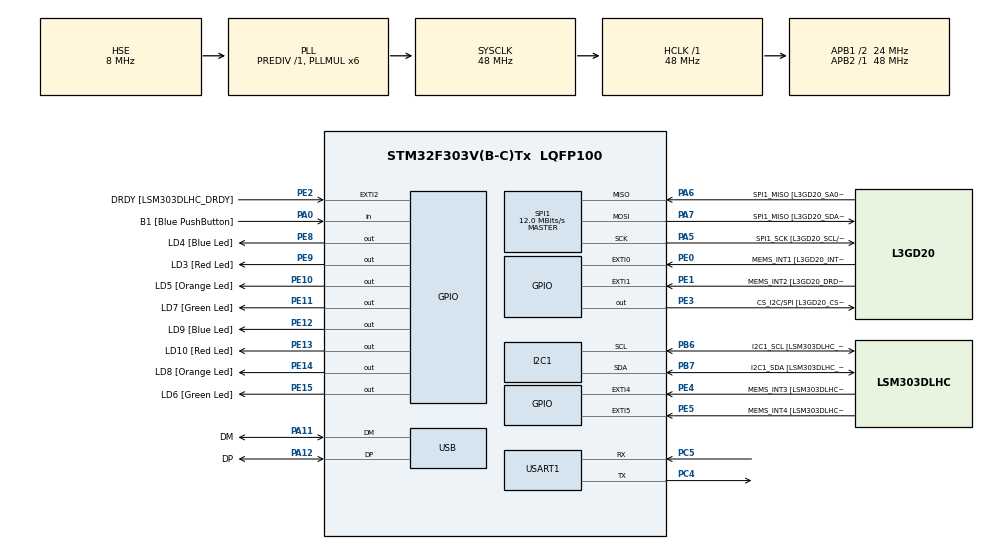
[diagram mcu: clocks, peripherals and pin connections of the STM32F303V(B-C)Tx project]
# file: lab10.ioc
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I2C1.Timing=0x2000090E
I2C1.Timing-I2C=0x2000090E
Mcu.Family=STM32F3
Mcu.Name=STM32F303V(B-C)Tx
Mcu.Package=LQFP100
NVIC.PriorityGroup=NVIC_PRIORITYGROUP_0
PA0.GPIO_Label=B1 [Blue PushButton]
PA0.Signal=GPIO_Input
PA11.GPIO_Label=DM
PA11.Mode=Device
PA11.Signal=USB_DM
PA12.GPIO_Label=DP
PA12.Mode=Device
PA12.Signal=USB_DP
PA13.GPIO_Label=SWDIO
PA13.Mode=Serial_Wire
PA13.Signal=SYS_JTMS-SWDIO
PA14.GPIO_Label=SWCLK
PA14.Mode=Serial_Wire
PA14.Signal=SYS_JTCK-SWCLK
PA5.GPIO_Label=SPI1_SCK [L3GD20_SCL/SPC]
PA5.Mode=Full_Duplex_Master
PA5.Signal=SPI1_SCK
PA6.GPIO_Label=SPI1_MISO [L3GD20_SA0/SDO]
PA6.Mode=Full_Duplex_Master
PA6.Signal=SPI1_MISO
PA7.GPIO_Label=SPI1_MISO [L3GD20_SDA/SDI/SDO]
PA7.Mode=Full_Duplex_Master
PA7.Signal=SPI1_MOSI
PB3.GPIO_Label=SWO
PB3.Signal=SYS_JTDO-TRACESWO
PB6.GPIO_Label=I2C1_SCL [LSM303DLHC_SCL]
PB6.GPIO_Pu=GPIO_PULLUP
PB6.Mode=I2C
PB6.Signal=I2C1_SCL
PB7.GPIO_Label=I2C1_SDA [LSM303DLHC_SDA]
PB7.GPIO_Pu=GPIO_PULLUP
PB7.Mode=I2C
PB7.Signal=I2C1_SDA
PC14-OSC32_IN.GPIO_Label=OSC32_IN
PC14-OSC32_IN.Signal=RCC_OSC32_IN
PC15-OSC32_OUT.GPIO_Label=OSC32_OUT
PC15-OSC32_OUT.Signal=RCC_OSC32_OUT
PC4.Mode=Asynchronous
PC4.Signal=USART1_TX
PC5.Mode=Asynchronous
PC5.Signal=USART1_RX
PE0.GPIO_Label=MEMS_INT1 [L3GD20_INT1]
PE0.GPIO_ModeDefaultEXTI=GPIO_MODE_EVT_RISING
PE0.Signal=GPXTI0
PE1.GPIO_Label=MEMS_INT2 [L3GD20_DRDY/INT2]
PE1.GPIO_ModeDefaultEXTI=GPIO_MODE_EVT_RISING
PE1.Signal=GPXTI1
PE10.GPIO_Label=LD5 [Orange Led]
PE10.Signal=GPIO_Output
PE11.GPIO_Label=LD7 [Green Led]
PE11.Signal=GPIO_Output
PE12.GPIO_Label=LD9 [Blue Led]
PE12.Signal=GPIO_Output
PE13.GPIO_Label=LD10 [Red Led]
PE13.Signal=GPIO_Output
PE14.GPIO_Label=LD8 [Orange Led]
PE14.Signal=GPIO_Output
PE15.GPIO_Label=LD6 [Green Led]
PE15.Signal=GPIO_Output
PE2.GPIO_Label=DRDY [LSM303DLHC_DRDY]
PE2.GPIO_ModeDefaultEXTI=GPIO_MODE_EVT_RISING
PE2.Signal=GPXTI2
PE3.GPIO_Label=CS_I2C/SPI [L3GD20_CS_I2C/SPI]
PE3.Signal=GPIO_Output
PE4.GPIO_Label=MEMS_INT3 [LSM303DLHC_INT1]
PE4.GPIO_ModeDefaultEXTI=GPIO_MODE_EVT_RISING
PE4.Signal=GPXTI4
PE5.GPIO_Label=MEMS_INT4 [LSM303DLHC_INT2]
PE5.GPIO_ModeDefaultEXTI=GPIO_MODE_EVT_RISING
PE5.Signal=GPXTI5
PE8.GPIO_Label=LD4 [Blue Led]
PE8.Signal=GPIO_Output
PE9.GPIO_Label=LD3 [Red Led]
PE9.Signal=GPIO_Output
PF0-OSC_IN.GPIO_Label=OSC_IN
PF0-OSC_IN.Mode=HSE-External-Clock-Source
PF0-OSC_IN.Signal=RCC_OSC_IN
PF1-OSC_OUT.GPIO_Label=OSC_OUT
PF1-OSC_OUT.Signal=RCC_OSC_OUT
ProjectManager.HeapSize=0x200
ProjectManager.StackSize=0x400
ProjectManager.TargetToolchain=CMake
RCC.AHBFreq_Value=48000000
RCC.APB1CLKDivider=RCC_HCLK_DIV2
RCC.APB1Freq_Value=24000000
RCC.APB1TimFreq_Value=48000000
RCC.APB2Freq_Value=48000000
RCC.APB2TimFreq_Value=48000000
RCC.CortexFreq_Value=48000000
RCC.HCLKFreq_Value=48000000
RCC.HSE_VALUE=8000000
RCC.HSI_VALUE=8000000
RCC.LSE_VALUE=32768
RCC.PLLMUL=RCC_PLL_MUL6
RCC.SYSCLKFreq_VALUE=48000000
RCC.SYSCLKSourceVirtual=RCC_SYSCLKSOURCE_PLLCLK
RCC.USBFreq_Value=48000000
SPI1.BaudRatePrescaler=SPI_BAUDRATEPRESCALER_4
SPI1.BaudRatePrescaler-Full_Duplex_Master=SPI_BAUDRATEPRESCALER_2
SPI1.CalculateBaudRate=12.0 MBits/s
SPI1.CalculateBaudRate-Full_Duplex_Master=24.0 MBits/s
SPI1.Direction=SPI_DIRECTION_2LINES
SPI1.Mode=SPI_MODE_MASTER
SPI1.Mode-Full_Duplex_Master=SPI_MODE_MASTER
SPI1.VirtualType=VM_MASTER
USART1.VirtualMode-Asynchronous=VM_ASYNC
board=STM32F3DISCOVERY

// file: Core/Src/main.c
/* USER CODE BEGIN Header */
/**
  ******************************************************************************
  * @file           : main.c
  * @brief          : Main program body
  ******************************************************************************
  * @attention
  *
  * Copyright (c) 2025 STMicroelectronics.
  * All rights reserved.
  *
  * This software is licensed under terms that can be found in the LICENSE file
  * in the root directory of this software component.
  * If no LICENSE file comes with this software, it is provided AS-IS.
  *
  ******************************************************************************
  */
/* USER CODE END Header */
#include "main.h"

/* USER CODE BEGIN Includes */
#include "main.h"
#include <stdlib.h>
#include <string.h>
#include <stdio.h>

#define N 10
/* USER CODE END Includes */

/* Private macro -------------------------------------------------------#include "main.h"
#include <stdlib.h>
#include <string.h>
#include <stdio.h>

#define N 10 ------*/

I2C_HandleTypeDef hi2c1;

SPI_HandleTypeDef hspi1;

UART_HandleTypeDef huart1;

PCD_HandleTypeDef hpcd_USB_FS;

void SystemClock_Config(void);
static void MX_GPIO_Init(void);
static void MX_I2C1_Init(void);
static void MX_SPI1_Init(void);
static void MX_USART1_UART_Init(void);
static void MX_USB_PCD_Init(void);

int main(void)
{

  /* MCU Configuration--------------------------------------------------------*/

  /* Reset of all peripherals, Initializes the Flash interface and the Systick. */
  HAL_Init();

  /* Configure the system clock */
  SystemClock_Config();

  /* Initialize all configured peripherals */
  MX_GPIO_Init();
  MX_I2C1_Init();
  MX_SPI1_Init();
  MX_USART1_UART_Init();
  MX_USB_PCD_Init();

  /* Infinite loop */
  /* USER CODE BEGIN WHILE */
  char msg[100];
    HAL_UART_Transmit(&huart1, (uint8_t *)"\r\n--- Dynamic Memory Allocation Demo ---\r\n", 43, HAL_MAX_DELAY);

    // Step 1: Allocate using malloc()
    int *arr_malloc = (int *) malloc(N * sizeof(int));
    if (arr_malloc == NULL)
    {
        HAL_UART_Transmit(&huart1, (uint8_t *)"malloc failed!\r\n", 16, HAL_MAX_DELAY);
    }
    // else
    // {
    //     for (int i = 0; i < N; i++)
    //     {
    //         arr_malloc[i] = i * 2;
    //     }
    // }

    // Step 2: Allocate using calloc()
    int *arr_calloc = (int *) calloc(N, sizeof(int));
    if (arr_calloc == NULL)
    {
        HAL_UART_Transmit(&huart1, (uint8_t *)"calloc failed!\r\n", 16, HAL_MAX_DELAY);
    }
    // else
    // {
    //     for (int i = 0; i < N; i++)
    //     {
    //         arr_calloc[i] = i + 1;
    //     }
    // }

    // Step 3: Print arrays
    for (int i = 0; i < N; i++)
    {
        sprintf(msg, "arr_malloc[%d] = %d, arr_calloc[%d] = %d\r\n",
                i, arr_malloc[i], i, arr_calloc[i]);
        HAL_UART_Transmit(&huart1, (uint8_t*)msg, strlen(msg), HAL_MAX_DELAY);
    }

    // Step 4: Free memory and clear pointers
    free(arr_malloc);
    arr_malloc = NULL;

    free(arr_calloc);
    arr_calloc = NULL;

    HAL_UART_Transmit(&huart1, (uint8_t *)"Memory freed and pointers cleared!\r\n", 36, HAL_MAX_DELAY);

  while (1)
  {
    /* USER CODE END WHILE */

  }
}

void SystemClock_Config(void)
{
  RCC_OscInitTypeDef RCC_OscInitStruct = {0};
  RCC_ClkInitTypeDef RCC_ClkInitStruct = {0};
  RCC_PeriphCLKInitTypeDef PeriphClkInit = {0};

  /** Initializes the RCC Oscillators according to the specified parameters
  * in the RCC_OscInitTypeDef structure.
  */
  RCC_OscInitStruct.OscillatorType = RCC_OSCILLATORTYPE_HSI|RCC_OSCILLATORTYPE_HSE;
  RCC_OscInitStruct.HSEState = RCC_HSE_BYPASS;
  RCC_OscInitStruct.HSEPredivValue = RCC_HSE_PREDIV_DIV1;
  RCC_OscInitStruct.HSIState = RCC_HSI_ON;
  RCC_OscInitStruct.HSICalibrationValue = RCC_HSICALIBRATION_DEFAULT;
  RCC_OscInitStruct.PLL.PLLState = RCC_PLL_ON;
  RCC_OscInitStruct.PLL.PLLSource = RCC_PLLSOURCE_HSE;
  RCC_OscInitStruct.PLL.PLLMUL = RCC_PLL_MUL6;
  if (HAL_RCC_OscConfig(&RCC_OscInitStruct) != HAL_OK)
  {
    Error_Handler();
  }

  /** Initializes the CPU, AHB and APB buses clocks
  */
  RCC_ClkInitStruct.ClockType = RCC_CLOCKTYPE_HCLK|RCC_CLOCKTYPE_SYSCLK
                              |RCC_CLOCKTYPE_PCLK1|RCC_CLOCKTYPE_PCLK2;
  RCC_ClkInitStruct.SYSCLKSource = RCC_SYSCLKSOURCE_PLLCLK;
  RCC_ClkInitStruct.AHBCLKDivider = RCC_SYSCLK_DIV1;
  RCC_ClkInitStruct.APB1CLKDivider = RCC_HCLK_DIV2;
  RCC_ClkInitStruct.APB2CLKDivider = RCC_HCLK_DIV1;

  if (HAL_RCC_ClockConfig(&RCC_ClkInitStruct, FLASH_LATENCY_1) != HAL_OK)
  {
    Error_Handler();
  }
  PeriphClkInit.PeriphClockSelection = RCC_PERIPHCLK_USB|RCC_PERIPHCLK_USART1
                              |RCC_PERIPHCLK_I2C1;
  PeriphClkInit.Usart1ClockSelection = RCC_USART1CLKSOURCE_PCLK2;
  PeriphClkInit.I2c1ClockSelection = RCC_I2C1CLKSOURCE_HSI;
  PeriphClkInit.USBClockSelection = RCC_USBCLKSOURCE_PLL;
  if (HAL_RCCEx_PeriphCLKConfig(&PeriphClkInit) != HAL_OK)
  {
    Error_Handler();
  }
}

static void MX_I2C1_Init(void)
{

  hi2c1.Instance = I2C1;
  hi2c1.Init.Timing = 0x2000090E;
  hi2c1.Init.OwnAddress1 = 0;
  hi2c1.Init.AddressingMode = I2C_ADDRESSINGMODE_7BIT;
  hi2c1.Init.DualAddressMode = I2C_DUALADDRESS_DISABLE;
  hi2c1.Init.OwnAddress2 = 0;
  hi2c1.Init.OwnAddress2Masks = I2C_OA2_NOMASK;
  hi2c1.Init.GeneralCallMode = I2C_GENERALCALL_DISABLE;
  hi2c1.Init.NoStretchMode = I2C_NOSTRETCH_DISABLE;
  if (HAL_I2C_Init(&hi2c1) != HAL_OK)
  {
    Error_Handler();
  }

  /** Configure Analogue filter
  */
  if (HAL_I2CEx_ConfigAnalogFilter(&hi2c1, I2C_ANALOGFILTER_ENABLE) != HAL_OK)
  {
    Error_Handler();
  }

  /** Configure Digital filter
  */
  if (HAL_I2CEx_ConfigDigitalFilter(&hi2c1, 0) != HAL_OK)
  {
    Error_Handler();
  }

}

static void MX_SPI1_Init(void)
{

  /* SPI1 parameter configuration*/
  hspi1.Instance = SPI1;
  hspi1.Init.Mode = SPI_MODE_MASTER;
  hspi1.Init.Direction = SPI_DIRECTION_2LINES;
  hspi1.Init.DataSize = SPI_DATASIZE_4BIT;
  hspi1.Init.CLKPolarity = SPI_POLARITY_LOW;
  hspi1.Init.CLKPhase = SPI_PHASE_1EDGE;
  hspi1.Init.NSS = SPI_NSS_SOFT;
  hspi1.Init.BaudRatePrescaler = SPI_BAUDRATEPRESCALER_4;
  hspi1.Init.FirstBit = SPI_FIRSTBIT_MSB;
  hspi1.Init.TIMode = SPI_TIMODE_DISABLE;
  hspi1.Init.CRCCalculation = SPI_CRCCALCULATION_DISABLE;
  hspi1.Init.CRCPolynomial = 7;
  hspi1.Init.CRCLength = SPI_CRC_LENGTH_DATASIZE;
  hspi1.Init.NSSPMode = SPI_NSS_PULSE_ENABLE;
  if (HAL_SPI_Init(&hspi1) != HAL_OK)
  {
    Error_Handler();
  }

}

static void MX_USART1_UART_Init(void)
{

  huart1.Instance = USART1;
  huart1.Init.BaudRate = 38400;
  huart1.Init.WordLength = UART_WORDLENGTH_8B;
  huart1.Init.StopBits = UART_STOPBITS_1;
  huart1.Init.Parity = UART_PARITY_NONE;
  huart1.Init.Mode = UART_MODE_TX_RX;
  huart1.Init.HwFlowCtl = UART_HWCONTROL_NONE;
  huart1.Init.OverSampling = UART_OVERSAMPLING_16;
  huart1.Init.OneBitSampling = UART_ONE_BIT_SAMPLE_DISABLE;
  huart1.AdvancedInit.AdvFeatureInit = UART_ADVFEATURE_NO_INIT;
  if (HAL_UART_Init(&huart1) != HAL_OK)
  {
    Error_Handler();
  }

}

static void MX_USB_PCD_Init(void)
{

  hpcd_USB_FS.Instance = USB;
  hpcd_USB_FS.Init.dev_endpoints = 8;
  hpcd_USB_FS.Init.speed = PCD_SPEED_FULL;
  hpcd_USB_FS.Init.phy_itface = PCD_PHY_EMBEDDED;
  hpcd_USB_FS.Init.low_power_enable = DISABLE;
  hpcd_USB_FS.Init.battery_charging_enable = DISABLE;
  if (HAL_PCD_Init(&hpcd_USB_FS) != HAL_OK)
  {
    Error_Handler();
  }

}

static void MX_GPIO_Init(void)
{
  GPIO_InitTypeDef GPIO_InitStruct = {0};

  /* GPIO Ports Clock Enable */
  __HAL_RCC_GPIOE_CLK_ENABLE();
  __HAL_RCC_GPIOC_CLK_ENABLE();
  __HAL_RCC_GPIOF_CLK_ENABLE();
  __HAL_RCC_GPIOA_CLK_ENABLE();
  __HAL_RCC_GPIOB_CLK_ENABLE();

  /*Configure GPIO pin Output Level */
  HAL_GPIO_WritePin(GPIOE, CS_I2C_SPI_Pin|LD4_Pin|LD3_Pin|LD5_Pin
                          |LD7_Pin|LD9_Pin|LD10_Pin|LD8_Pin
                          |LD6_Pin, GPIO_PIN_RESET);

  /*Configure GPIO pins : DRDY_Pin MEMS_INT3_Pin MEMS_INT4_Pin MEMS_INT1_Pin
                           MEMS_INT2_Pin */
  GPIO_InitStruct.Pin = DRDY_Pin|MEMS_INT3_Pin|MEMS_INT4_Pin|MEMS_INT1_Pin
                          |MEMS_INT2_Pin;
  GPIO_InitStruct.Mode = GPIO_MODE_EVT_RISING;
  GPIO_InitStruct.Pull = GPIO_NOPULL;
  HAL_GPIO_Init(GPIOE, &GPIO_InitStruct);

  /*Configure GPIO pins : CS_I2C_SPI_Pin LD4_Pin LD3_Pin LD5_Pin
                           LD7_Pin LD9_Pin LD10_Pin LD8_Pin
                           LD6_Pin */
  GPIO_InitStruct.Pin = CS_I2C_SPI_Pin|LD4_Pin|LD3_Pin|LD5_Pin
                          |LD7_Pin|LD9_Pin|LD10_Pin|LD8_Pin
                          |LD6_Pin;
  GPIO_InitStruct.Mode = GPIO_MODE_OUTPUT_PP;
  GPIO_InitStruct.Pull = GPIO_NOPULL;
  GPIO_InitStruct.Speed = GPIO_SPEED_FREQ_LOW;
  HAL_GPIO_Init(GPIOE, &GPIO_InitStruct);

  /*Configure GPIO pin : B1_Pin */
  GPIO_InitStruct.Pin = B1_Pin;
  GPIO_InitStruct.Mode = GPIO_MODE_INPUT;
  GPIO_InitStruct.Pull = GPIO_NOPULL;
  HAL_GPIO_Init(B1_GPIO_Port, &GPIO_InitStruct);

}

void Error_Handler(void)
{
  __disable_irq();
  while (1)
  {
  }
}
